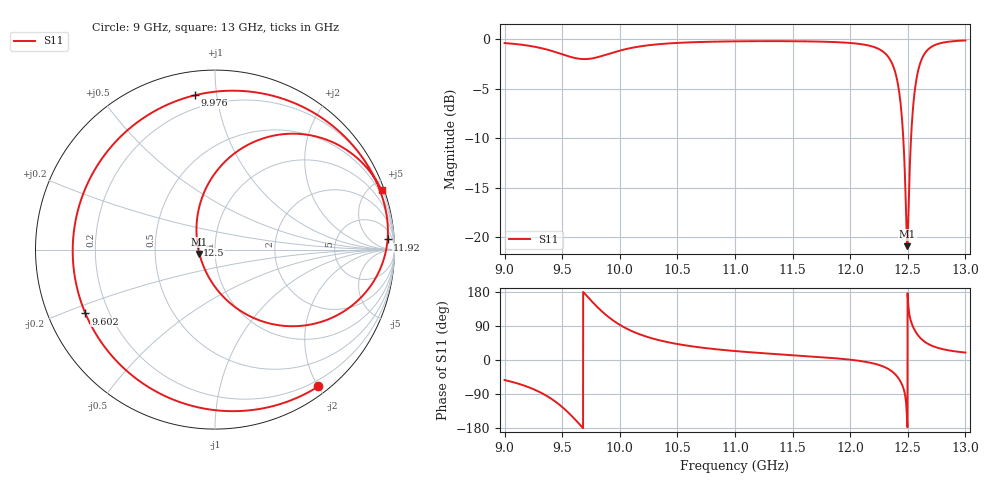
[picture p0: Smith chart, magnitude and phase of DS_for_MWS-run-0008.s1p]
! TOUCHSTONE file generated by CST DESIGN STUDIO
! Date and time: Tue Feb  4 13:42:09 2025
! Project name: C:\Work\MatlabApps\UnitCellOptimizationMatlab\CST\unitcell.cst
! Tree item: Tasks\Sweep1\SPara1\S-Parameters
! Header version: 2024
! Port assignment regex: !\s*Touchstone port\s*([0-9]+)\s*=\s*(CST MWS port|CST DES external port|CST DES block port)\s*(.+)\s* \(\"(.*)\"\)(\s*mode\s*([0-9]+))?.*
! Touchstone port assignment:
! Touchstone port 1 = CST DES external port 1 ("")
# GHz S MA R 50
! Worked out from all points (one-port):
!   4001 points, 9 GHz to 13 GHz, reference 50 ohm
!   lowest |S11| = -20.9 dB at 12.49 GHz (marker M1), VSWR 1.20, Z = 42 - j2.05 ohm
!   |S11| at or under -10 dB: 12.46 GHz to 12.53 GHz (67.41 MHz wide, 0.54 % of centre)
!   S11 on the Smith chart (normalised r, x): 9 GHz: 0.11, -2.00; 9.602 GHz: 0.11, -0.23; 9.976 GHz: 0.13, +0.87; 11.92 GHz: 15, +24; 12.5 GHz: 0.82, +0.04; 13 GHz: 0.27, +5.78
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9  0.9555 -52.9
9.167  0.9338 -67.2
9.319  0.9002 -86.8
9.416  0.8695 -104.5
9.5  0.8385 -124.1
9.602  0.8049 -153.8
9.677  0.793 -178.6
9.751  0.7976 156.7
9.861  0.8277 123.9
9.976  0.8674 97.4
10  0.8751 92.8
10.222  0.9269 62.5
10.5  0.957 42.1
11  0.9747 23.6
11.5  0.976 12.7
11.917  0.9633 3.4
12  0.9563 0.8
12.253  0.8886 -13.4
12.38  0.7128 -34.5
12.443  0.4389 -60.4
12.483  0.1451 -107.2
12.495  0.08992 -164.4
12.5  0.1006 164.6
12.548  0.4673 86.0
12.61  0.7626 57.8
12.669  0.8784 43.7
12.743  0.9378 33.7
13  0.9847 19.6
